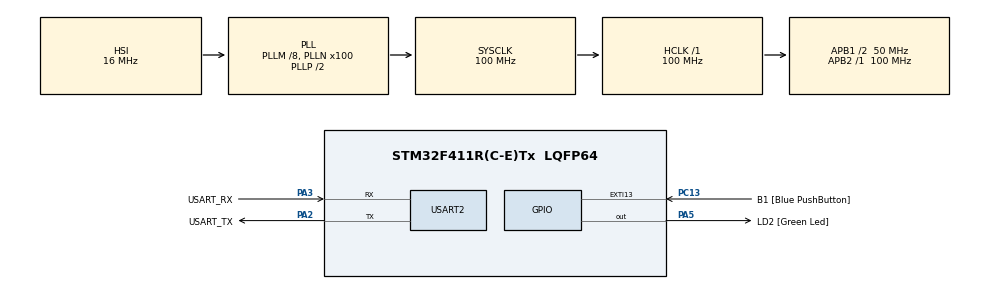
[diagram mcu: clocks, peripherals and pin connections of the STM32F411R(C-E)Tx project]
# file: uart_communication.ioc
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Mcu.Family=STM32F4
Mcu.Name=STM32F411R(C-E)Tx
Mcu.Package=LQFP64
NVIC.PriorityGroup=NVIC_PRIORITYGROUP_0
NVIC.TIM2_IRQn=true\:0\:0\:false\:false\:true\:true
NVIC.USART2_IRQn=true\:0\:0\:false\:false\:true\:true
PA13.GPIO_Label=TMS
PA13.Mode=Serial_Wire
PA13.Signal=SYS_JTMS-SWDIO
PA14.GPIO_Label=TCK
PA14.Mode=Serial_Wire
PA14.Signal=SYS_JTCK-SWCLK
PA2.GPIO_Label=USART_TX
PA2.Mode=Asynchronous
PA2.Signal=USART2_TX
PA3.GPIO_Label=USART_RX
PA3.Mode=Asynchronous
PA3.Signal=USART2_RX
PA5.GPIO_Label=LD2 [Green Led]
PA5.Signal=GPIO_Output
PB3.GPIO_Label=SWO
PB3.Signal=SYS_JTDO-SWO
PC13-ANTI_TAMP.GPIO_Label=B1 [Blue PushButton]
PC13-ANTI_TAMP.GPIO_ModeDefaultEXTI=GPIO_MODE_IT_FALLING
PC13-ANTI_TAMP.Signal=GPXTI13
PC14-OSC32_IN.Mode=LSE-External-Oscillator
PC14-OSC32_IN.Signal=RCC_OSC32_IN
PC15-OSC32_OUT.Mode=LSE-External-Oscillator
PC15-OSC32_OUT.Signal=RCC_OSC32_OUT
PH0\ -\ OSC_IN.Mode=HSE-External-Clock-Source
PH0\ -\ OSC_IN.Signal=RCC_OSC_IN
PH1\ -\ OSC_OUT.Mode=HSE-External-Clock-Source
PH1\ -\ OSC_OUT.Signal=RCC_OSC_OUT
ProjectManager.HeapSize=0x200
ProjectManager.StackSize=0x400
ProjectManager.TargetToolchain=SW4STM32
RCC.48MHZClocksFreq_Value=50000000
RCC.AHBFreq_Value=100000000
RCC.APB1CLKDivider=RCC_HCLK_DIV2
RCC.APB1Freq_Value=50000000
RCC.APB1TimFreq_Value=100000000
RCC.APB2Freq_Value=100000000
RCC.APB2TimFreq_Value=100000000
RCC.CortexFreq_Value=100000000
RCC.FLatency-AdvancedSettings=FLASH_LATENCY_3
RCC.HCLKFreq_Value=100000000
RCC.HSE_VALUE=8000000
RCC.HSI_VALUE=16000000
RCC.PLLM=8
RCC.PLLN=100
RCC.SYSCLKFreq_VALUE=100000000
RCC.SYSCLKSource=RCC_SYSCLKSOURCE_PLLCLK
RCC.VCOOutputFreq_Value=200000000
TIM2.Period=9999
TIM2.Prescaler=9999
USART2.VirtualMode=VM_ASYNC
VP_TIM2_VS_ClockSourceINT.Mode=Internal
board=NUCLEO-F411RE

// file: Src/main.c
/**
  ******************************************************************************
  * @file           : main.c
  * @brief          : Main program body
  ******************************************************************************
  ** This notice applies to any and all portions of this file
  * that are not between comment pairs USER CODE BEGIN and
  * USER CODE END. Other portions of this file, whether
  * inserted by the user or by software development tools
  * are owned by their respective copyright owners.
  *
  * COPYRIGHT(c) 2018 STMicroelectronics
  *
  * Redistribution and use in source and binary forms, with or without modification,
  * are permitted provided that the following conditions are met:
  *   1. Redistributions of source code must retain the above copyright notice,
  *      this list of conditions and the following disclaimer.
  *   2. Redistributions in binary form must reproduce the above copyright notice,
  *      this list of conditions and the following disclaimer in the documentation
  *      and/or other materials provided with the distribution.
  *   3. Neither the name of STMicroelectronics nor the names of its contributors
  *      may be used to endorse or promote products derived from this software
  *      without specific prior written permission.
  *
  * THIS SOFTWARE IS PROVIDED BY THE COPYRIGHT HOLDERS AND CONTRIBUTORS "AS IS"
  * AND ANY EXPRESS OR IMPLIED WARRANTIES, INCLUDING, BUT NOT LIMITED TO, THE
  * IMPLIED WARRANTIES OF MERCHANTABILITY AND FITNESS FOR A PARTICULAR PURPOSE ARE
  * DISCLAIMED. IN NO EVENT SHALL THE COPYRIGHT HOLDER OR CONTRIBUTORS BE LIABLE
  * FOR ANY DIRECT, INDIRECT, INCIDENTAL, SPECIAL, EXEMPLARY, OR CONSEQUENTIAL
  * DAMAGES (INCLUDING, BUT NOT LIMITED TO, PROCUREMENT OF SUBSTITUTE GOODS OR
  * SERVICES; LOSS OF USE, DATA, OR PROFITS; OR BUSINESS INTERRUPTION) HOWEVER
  * CAUSED AND ON ANY THEORY OF LIABILITY, WHETHER IN CONTRACT, STRICT LIABILITY,
  * OR TORT (INCLUDING NEGLIGENCE OR OTHERWISE) ARISING IN ANY WAY OUT OF THE USE
  * OF THIS SOFTWARE, EVEN IF ADVISED OF THE POSSIBILITY OF SUCH DAMAGE.
  *
  ******************************************************************************
  */
#include "main.h"
#include "stm32f4xx_hal.h"
#include "tim.h"
#include "usart.h"
#include "gpio.h"

/* USER CODE BEGIN Includes */
#define LED_ON HAL_GPIO_WritePin(LD2_GPIO_Port,LD2_Pin,GPIO_PIN_SET)
#define LED_OFF HAL_GPIO_WritePin(LD2_GPIO_Port,LD2_Pin,GPIO_PIN_RESET)
/* USER CODE END Includes */

int pb_set=0;
int pb_reset=0;
/* USER CODE BEGIN PV */
/* Private variables ---------------------------------------------------------*/
uint8_t received;

int push_btn=0;
int led_on=1;
/* USER CODE END PV */

void SystemClock_Config(void);

/* USER CODE BEGIN PFP */
/* Private function prototypes -----------------------------------------------*/
void debounce_PB();
void HAL_UART_RxCpltCallback(UART_HandleTypeDef *huart) {

	uint8_t Data[50]; // Tablica przechowujaca wysylana wiadomosc.
	uint16_t size = 0; // Rozmiar wysylanej wiadomosci
	// Odebrany znak zostaje przekonwertowany na liczbe calkowita i sprawdzony
	// instrukcja warunkowa
	switch (atoi(&received)) {
	case 0: // Jezeli odebrany zostanie znak 0
		size = sprintf(Data, "STOP\n\r");
		HAL_GPIO_WritePin(LD2_GPIO_Port, LD2_Pin, GPIO_PIN_RESET);
		break;

	case 1: // Jezeli odebrany zostanie znak 1
		size = sprintf(Data, "START\n\r");
		HAL_GPIO_WritePin(LD2_GPIO_Port, LD2_Pin, GPIO_PIN_SET);
		break;

	default: // Jezeli odebrano nieobslugiwany znak
		size = sprintf(Data, "Odebrano nieznany znak: %c\n\r", received);
		break;
	}
	//size=sprintf(Data,"%d",atoi(&received));
	HAL_UART_Transmit_IT(&huart2, Data, size); // Rozpoczecie nadawania danych z wykorzystaniem przerwan
	HAL_UART_Receive_IT(&huart2, &received, 1); // Ponowne włšczenie nasłuchiwania
}
/* USER CODE END PFP */

int main(void)
{

  /* MCU Configuration----------------------------------------------------------*/

  /* Reset of all peripherals, Initializes the Flash interface and the Systick. */
  HAL_Init();

  /* Configure the system clock */
  SystemClock_Config();

  /* Initialize all configured peripherals */
  MX_GPIO_Init();
  MX_USART2_UART_Init();
  MX_TIM2_Init();
  /* USER CODE BEGIN 2 */

  HAL_TIM_Base_Start_IT(&htim2);
  HAL_TIM_Base_Stop_IT(&htim2);
  HAL_UART_Receive_IT(&huart2,&received,1);
  LED_OFF;
  /* USER CODE END 2 */

  /* Infinite loop */
  /* USER CODE BEGIN WHILE */
  while (1)
  {
	  /*if(HAL_GPIO_ReadPin(B1_GPIO_Port,B1_Pin) == GPIO_PIN_SET){
		  HAL_TIM_Base_Start_IT(&htim2);
	  }

	  if(push_btn == 1 && led_on==1){
		  LED_OFF;
	  }else else if(push_btn == 0){
		  led_on=0;
	  }*/
  /* USER CODE END WHILE */

  }

}

void SystemClock_Config(void)
{

  RCC_OscInitTypeDef RCC_OscInitStruct;
  RCC_ClkInitTypeDef RCC_ClkInitStruct;

    /**Configure the main internal regulator output voltage
    */
  __HAL_RCC_PWR_CLK_ENABLE();

  __HAL_PWR_VOLTAGESCALING_CONFIG(PWR_REGULATOR_VOLTAGE_SCALE1);

    /**Initializes the CPU, AHB and APB busses clocks
    */
  RCC_OscInitStruct.OscillatorType = RCC_OSCILLATORTYPE_HSI;
  RCC_OscInitStruct.HSIState = RCC_HSI_ON;
  RCC_OscInitStruct.HSICalibrationValue = 16;
  RCC_OscInitStruct.PLL.PLLState = RCC_PLL_ON;
  RCC_OscInitStruct.PLL.PLLSource = RCC_PLLSOURCE_HSI;
  RCC_OscInitStruct.PLL.PLLM = 8;
  RCC_OscInitStruct.PLL.PLLN = 100;
  RCC_OscInitStruct.PLL.PLLP = RCC_PLLP_DIV2;
  RCC_OscInitStruct.PLL.PLLQ = 4;
  if (HAL_RCC_OscConfig(&RCC_OscInitStruct) != HAL_OK)
  {
    _Error_Handler(__FILE__, __LINE__);
  }

    /**Initializes the CPU, AHB and APB busses clocks
    */
  RCC_ClkInitStruct.ClockType = RCC_CLOCKTYPE_HCLK|RCC_CLOCKTYPE_SYSCLK
                              |RCC_CLOCKTYPE_PCLK1|RCC_CLOCKTYPE_PCLK2;
  RCC_ClkInitStruct.SYSCLKSource = RCC_SYSCLKSOURCE_PLLCLK;
  RCC_ClkInitStruct.AHBCLKDivider = RCC_SYSCLK_DIV1;
  RCC_ClkInitStruct.APB1CLKDivider = RCC_HCLK_DIV2;
  RCC_ClkInitStruct.APB2CLKDivider = RCC_HCLK_DIV1;

  if (HAL_RCC_ClockConfig(&RCC_ClkInitStruct, FLASH_LATENCY_3) != HAL_OK)
  {
    _Error_Handler(__FILE__, __LINE__);
  }

    /**Configure the Systick interrupt time
    */
  HAL_SYSTICK_Config(HAL_RCC_GetHCLKFreq()/1000);

    /**Configure the Systick
    */
  HAL_SYSTICK_CLKSourceConfig(SYSTICK_CLKSOURCE_HCLK);

  /* SysTick_IRQn interrupt configuration */
  HAL_NVIC_SetPriority(SysTick_IRQn, 0, 0);
}

/* USER CODE BEGIN 4 */
void debounce_PB(){
	if(HAL_GPIO_ReadPin(B1_GPIO_Port,B1_Pin) == GPIO_PIN_RESET){
		pb_set++;
		pb_reset=0;

		if(pb_set >= 100){
			push_btn=1;
			HAL_TIM_Base_Stop_IT(&htim2);
		}
	}else{
		pb_reset++;
		pb_set=0;

		if(pb_reset >= 100){
			push_btn=0;
			HAL_TIM_Base_Stop_IT(&htim2);
		}
	}
}
/* USER CODE END 4 */

void _Error_Handler(char *file, int line)
{
  while(1)
  {
  }
}

/************************ (C) COPYRIGHT STMicroelectronics *****END OF FILE****/
